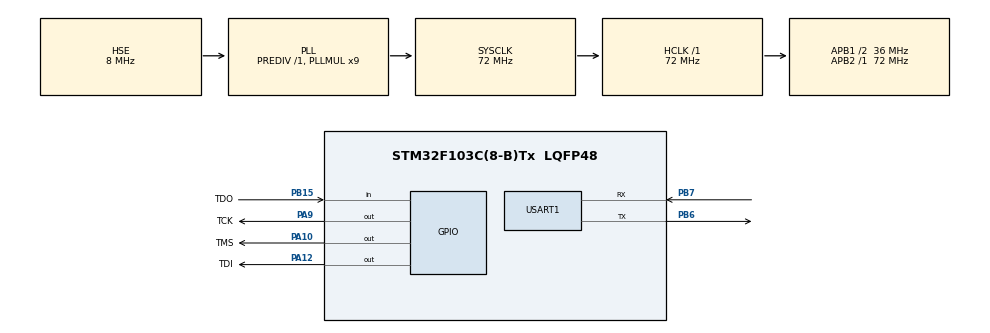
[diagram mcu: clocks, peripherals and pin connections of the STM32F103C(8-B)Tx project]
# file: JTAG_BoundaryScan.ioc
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Mcu.Family=STM32F1
Mcu.Name=STM32F103C(8-B)Tx
Mcu.Package=LQFP48
NVIC.PriorityGroup=NVIC_PRIORITYGROUP_4
NVIC.TIM1_UP_IRQn=true\:0\:0\:false\:false\:true\:false
NVIC.TimeBase=TIM1_UP_IRQn
NVIC.TimeBaseIP=TIM1
PA10.GPIO_Label=TMS
PA10.Signal=GPIO_Output
PA12.GPIO_Label=TDI
PA12.GPIO_PuPd=GPIO_NOPULL
PA12.Signal=GPIO_Output
PA13.Mode=Serial_Wire
PA13.Signal=SYS_JTMS-SWDIO
PA14.Mode=Serial_Wire
PA14.Signal=SYS_JTCK-SWCLK
PA9.GPIO_Label=TCK
PA9.GPIO_PuPd=GPIO_NOPULL
PA9.Signal=GPIO_Output
PB15.GPIO_Label=TDO
PB15.GPIO_PuPd=GPIO_NOPULL
PB15.Signal=GPIO_Input
PB6.Mode=Asynchronous
PB6.Signal=USART1_TX
PB7.Mode=Asynchronous
PB7.Signal=USART1_RX
PD0-OSC_IN.Mode=HSE-External-Oscillator
PD0-OSC_IN.Signal=RCC_OSC_IN
PD1-OSC_OUT.Mode=HSE-External-Oscillator
PD1-OSC_OUT.Signal=RCC_OSC_OUT
ProjectManager.HeapSize=0x200
ProjectManager.StackSize=0x400
ProjectManager.TargetToolchain=SW4STM32
RCC.AHBFreq_Value=72000000
RCC.APB1CLKDivider=RCC_HCLK_DIV2
RCC.APB1Freq_Value=36000000
RCC.APB1TimFreq_Value=72000000
RCC.APB2Freq_Value=72000000
RCC.APB2TimFreq_Value=72000000
RCC.HCLKFreq_Value=72000000
RCC.PLLMUL=RCC_PLL_MUL9
RCC.PLLSourceVirtual=RCC_PLLSOURCE_HSE
RCC.SYSCLKFreq_VALUE=72000000
RCC.SYSCLKSource=RCC_SYSCLKSOURCE_PLLCLK
RCC.USBFreq_Value=72000000
USART1.Parity=PARITY_NONE
USART1.VirtualMode=VM_ASYNC
VP_SYS_VS_tim1.Mode=TIM1
board=custom

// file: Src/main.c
/**
  ******************************************************************************
  * @file           : main.c
  * @brief          : Main program body
  ******************************************************************************
  ** This notice applies to any and all portions of this file
  * that are not between comment pairs USER CODE BEGIN and
  * USER CODE END. Other portions of this file, whether
  * inserted by the user or by software development tools
  * are owned by their respective copyright owners.
  *
  * COPYRIGHT(c) 2019 STMicroelectronics
  *
  * Redistribution and use in source and binary forms, with or without modification,
  * are permitted provided that the following conditions are met:
  *   1. Redistributions of source code must retain the above copyright notice,
  *      this list of conditions and the following disclaimer.
  *   2. Redistributions in binary form must reproduce the above copyright notice,
  *      this list of conditions and the following disclaimer in the documentation
  *      and/or other materials provided with the distribution.
  *   3. Neither the name of STMicroelectronics nor the names of its contributors
  *      may be used to endorse or promote products derived from this software
  *      without specific prior written permission.
  *
  * THIS SOFTWARE IS PROVIDED BY THE COPYRIGHT HOLDERS AND CONTRIBUTORS "AS IS"
  * AND ANY EXPRESS OR IMPLIED WARRANTIES, INCLUDING, BUT NOT LIMITED TO, THE
  * IMPLIED WARRANTIES OF MERCHANTABILITY AND FITNESS FOR A PARTICULAR PURPOSE ARE
  * DISCLAIMED. IN NO EVENT SHALL THE COPYRIGHT HOLDER OR CONTRIBUTORS BE LIABLE
  * FOR ANY DIRECT, INDIRECT, INCIDENTAL, SPECIAL, EXEMPLARY, OR CONSEQUENTIAL
  * DAMAGES (INCLUDING, BUT NOT LIMITED TO, PROCUREMENT OF SUBSTITUTE GOODS OR
  * SERVICES; LOSS OF USE, DATA, OR PROFITS; OR BUSINESS INTERRUPTION) HOWEVER
  * CAUSED AND ON ANY THEORY OF LIABILITY, WHETHER IN CONTRACT, STRICT LIABILITY,
  * OR TORT (INCLUDING NEGLIGENCE OR OTHERWISE) ARISING IN ANY WAY OUT OF THE USE
  * OF THIS SOFTWARE, EVEN IF ADVISED OF THE POSSIBILITY OF SUCH DAMAGE.
  *
  ******************************************************************************
  */
#include "main.h"
#include "stm32f1xx_hal.h"

/* USER CODE BEGIN Includes */
#include <stdint.h>
#include <stdlib.h>
#include <string.h>
#include "Tap.h"
#include "global.h"
#include "BoundaryScan.h"
#include "USART.h"
#include "BSReg_Def.h"
#include "myString.h"

/* USER CODE END Includes */

UART_HandleTypeDef huart1;

/* USER CODE BEGIN PV */
/* Private variables ---------------------------------------------------------*/

TapState currentTapState = TEST_LOGIC_RESET;
JTAGInstruction currentIR = DONT_CARE;

extern BSCell bsc1;

char menuBuffer[BUFFER_SIZE] = {0};
char commandBuffer[BUFFER_SIZE] = {0};

/* USER CODE END PV */

void SystemClock_Config(void);
static void MX_GPIO_Init(void);
static void MX_USART1_UART_Init(void);

/* USER CODE BEGIN PFP */
/* Private function prototypes -----------------------------------------------*/

/* USER CODE END PFP */

int main(void)
{
  /* USER CODE BEGIN 1 */
	volatile uint64_t val = 0, i = 0;
	sprintf( menuBuffer, "\t\tWelcome to JTAG Interface for STM32F103C8T6, \
			\n \t\t\t type 'help' for enquiry \n\n");

  /* USER CODE END 1 */

  /* MCU Configuration----------------------------------------------------------*/

  /* Reset of all peripherals, Initializes the Flash interface and the Systick. */
  HAL_Init();

  /* Configure the system clock */
  SystemClock_Config();

  /* Initialize all configured peripherals */
  MX_GPIO_Init();
  MX_USART1_UART_Init();
  /* USER CODE BEGIN 2 */

  switchSwdToJtagMode();
  jtagIoInit();

  /*	Bypass Instruction
  	   * 	Instruction op-code : 9 bit of 1
  	   * 	1. Load the DR of Boundary Scan(BS) and Cortex TAP
  	   * 	   with 1.
  	   * 	2. Send data of 0b1110001 to shift out.
  	   * 	3. Expected data is
  	   *
  	   * 							BS TAP  Cortex TAP
  	   * 	TDI : 	0b1110001		0b		0b
  	   * 			--------------> ------> ----> 	TDO
  	   * 	Expect result from TDO is 0b111000100	(LSB first)
  	   * */
  	  val = jtagBypass(BYPASS_BOTH_TAP, CORTEX_M3_JTAG_INSTRUCTION_LENGTH, 0b1110001, 10);
  	  val = 0;

  	  /*	IDCODE Instruction
  	   * 	Instruction op-code : 0b000011110
  	   *	1. Load the IR of Boundary Scan(BS) with 0b00001
  	   *	   and Cortex TAP with 0b1110
  	   *    2. Shift out the IDCODE from both TAP's DR.
  	   *    3. Expected result is
  	   *        			BS TAP		Cortex TAP
  	   *	TDI : 		0x16410041		0x3ba00477(LSB)
  	   *
  	   *	Expect result from TDO is 0x164100413ba00477
  	   * */
  	  val = jtagReadIdCode(READ_BOTH_IDCODE, CORTEX_M3_JTAG_INSTRUCTION_LENGTH, DUMMY_DATA, 64);
  	  val = 0;

  	  /*	Get IDCODE after reset TAP state to TEST_LOGIC_RESET
  	   * 	Expect result from TDO is 0x164100413ba00477
  	   * */
  	  val = jtagReadIDCodeResetTAP(DUMMY_DATA, 64);
  	  val = 0;

  	  /*	Get IDCODE for BS TAP and bypass Cortex TAP
  	   *	retval need to shift right by 1 bit bcoz of
  	   *	bypass bit for Cortex TAP
  	   *
  	   *	Expect result from TDO is 0xXXXXXXXX16410041
  	   * */
  	  val = jtagReadIdCode(READ_BSC_IDCODE_BYPASS_M3_TAP, CORTEX_M3_JTAG_INSTRUCTION_LENGTH, 0xffffffffffffffff, 64);
  	  val = val>>1;
  	  val = 0;

  	  /*	Bypass BS TAP and get IDCODE for Cortex TAP
  	   *
  	   * 	Expect result from TDO is 0xXXXXXXXX3ba00477
  	   * */
  	  val = jtagReadIdCode(BYPASS_BSC_TAP_READ_M3_IDCODE, CORTEX_M3_JTAG_INSTRUCTION_LENGTH, 0xffffffffffffffff, 64);
  	  val = 0;

  	  /*	SAMPLE Instruction
  	   * 	Sample the Gpio pin while the MCU is running in normal operation
  	   *
  	   * 	Example
  	   * 	When pin pa12 is connected to GND the expected val is 0,
  	   * 	if pin pa12 is connected to 3.3V the expected val is 1
  	   * */
  	  bSCInIt(&bsc1);
  	  bSCPinConfigure(&bsc1, pa12, INPUT_PIN);
  	  val = bSCSampleGpioPin(&bsc1, pa12);
  	  /*	PRELOAD Instruction
  	   * 	Loaded the test pattern that will use for EXTEST later
  	   *
  	   * 	Example
  	   *	Load '1' at the output cell of pb9 (tri-stated).
  	   *	When loading EXTEST instruction, pb9 will output HIGH '1'
  	   *
  	   * */
  	  writePreloadData(&bsc1, pa12, 1);
  	  val = jtagReadBSCPin(&bsc1, pa12.outputCellNum, PRELOAD_DATA);

  	  /*	EXTEST Instruction
  	   * 	Apply the test pattern preloaded from PRELOAD Instruction
  	   * 	to the circuit
  	   *
  	   * 	NOTICE : Make sure the currentIR is not EXTEST for first time
  	   * 			 then update the currentIR to EXTEST
  	   * */
  	 bSCPinConfigure(&bsc1, pa9, OUTPUT_PIN);
  	 bSCExtestGpioPin(&bsc1, pa9, 1);
  	 bSCExtestGpioPin(&bsc1, pa9, 0);
  	 bSCExtestGpioPin(&bsc1, pa9, 1);
  	 bSCExtestGpioPin(&bsc1, pa9, 1);
  	 bSCExtestGpioPin(&bsc1, pa9, 1);
  	 bSCExtestGpioPin(&bsc1, pa9, 0);
  	 bSCExtestGpioPin(&bsc1, pa9, 0);
  	 bSCExtestGpioPin(&bsc1, pa9, 0);
  	 uartTransmitBuffer(uart1, menuBuffer);

  	 char *str = "pa9";
  	 volatile int k = isBSRegValid(str);
	 bSCInIt(&bsc1);
  /* USER CODE END 2 */

  /* Infinite loop */
  /* USER CODE BEGIN WHILE */
  while (1)
  {

	  restart: // Label for goto statement
    // Check if there is new data received via UART
    if(usartIsRxRegNotEmpty(uart1)){
      // If data is received, read it into the commandBuffer
      commandBuffer[i] = (uart1)->DR;

      // Check if the UART is ready to transmit data
      if(usartIsTxRegEmpty(uart1)){
        // If ready, echo the received data back to the sender
        (uart1)->DR = commandBuffer[i];
      }

      // Check if the received data is a backspace character
      if(commandBuffer[i] == '\b'){
        // If it is, "erase" the last character received by decrementing the index
        i--;
        // Then, restart the loop from the beginning
        goto restart;
      }

      // Check if the received data is a newline character
      if(commandBuffer[i] == '\n'){
        // If it is, terminate the command string and process the command
        commandBuffer[i] = '\0';
        commandLineOperation(commandBuffer);

        // Reset the index to start a new command
        i = 0;

        // Then, restart the loop from the beginning
        goto restart;
      }

      // If the received data is neither backspace nor newline, increment the index for the next character
      i++;
    }
	  //uartTransmitAndReceive(uart1, commandBuffer);
  /* USER CODE END WHILE */

  }

}

void SystemClock_Config(void)
{

  RCC_OscInitTypeDef RCC_OscInitStruct;
  RCC_ClkInitTypeDef RCC_ClkInitStruct;

    /**Initializes the CPU, AHB and APB busses clocks
    */
  RCC_OscInitStruct.OscillatorType = RCC_OSCILLATORTYPE_HSE;
  RCC_OscInitStruct.HSEState = RCC_HSE_ON;
  RCC_OscInitStruct.HSEPredivValue = RCC_HSE_PREDIV_DIV1;
  RCC_OscInitStruct.HSIState = RCC_HSI_ON;
  RCC_OscInitStruct.PLL.PLLState = RCC_PLL_ON;
  RCC_OscInitStruct.PLL.PLLSource = RCC_PLLSOURCE_HSE;
  RCC_OscInitStruct.PLL.PLLMUL = RCC_PLL_MUL9;
  if (HAL_RCC_OscConfig(&RCC_OscInitStruct) != HAL_OK)
  {
    _Error_Handler(__FILE__, __LINE__);
  }

    /**Initializes the CPU, AHB and APB busses clocks
    */
  RCC_ClkInitStruct.ClockType = RCC_CLOCKTYPE_HCLK|RCC_CLOCKTYPE_SYSCLK
                              |RCC_CLOCKTYPE_PCLK1|RCC_CLOCKTYPE_PCLK2;
  RCC_ClkInitStruct.SYSCLKSource = RCC_SYSCLKSOURCE_PLLCLK;
  RCC_ClkInitStruct.AHBCLKDivider = RCC_SYSCLK_DIV1;
  RCC_ClkInitStruct.APB1CLKDivider = RCC_HCLK_DIV2;
  RCC_ClkInitStruct.APB2CLKDivider = RCC_HCLK_DIV1;

  if (HAL_RCC_ClockConfig(&RCC_ClkInitStruct, FLASH_LATENCY_2) != HAL_OK)
  {
    _Error_Handler(__FILE__, __LINE__);
  }

    /**Configure the Systick interrupt time
    */
  HAL_SYSTICK_Config(HAL_RCC_GetHCLKFreq()/1000);

    /**Configure the Systick
    */
  HAL_SYSTICK_CLKSourceConfig(SYSTICK_CLKSOURCE_HCLK);

  /* SysTick_IRQn interrupt configuration */
  HAL_NVIC_SetPriority(SysTick_IRQn, 0, 0);
}

/* USART1 init function */
static void MX_USART1_UART_Init(void)
{

  huart1.Instance = USART1;
  huart1.Init.BaudRate = 115200;
  huart1.Init.WordLength = UART_WORDLENGTH_8B;
  huart1.Init.StopBits = UART_STOPBITS_1;
  huart1.Init.Parity = UART_PARITY_NONE;
  huart1.Init.Mode = UART_MODE_TX_RX;
  huart1.Init.HwFlowCtl = UART_HWCONTROL_NONE;
  huart1.Init.OverSampling = UART_OVERSAMPLING_16;
  if (HAL_UART_Init(&huart1) != HAL_OK)
  {
    _Error_Handler(__FILE__, __LINE__);
  }

}

/** Configure pins as
        * Analog
        * Input
        * Output
        * EVENT_OUT
        * EXTI
*/
static void MX_GPIO_Init(void)
{

  GPIO_InitTypeDef GPIO_InitStruct;

  /* GPIO Ports Clock Enable */
  __HAL_RCC_GPIOD_CLK_ENABLE();
  __HAL_RCC_GPIOB_CLK_ENABLE();
  __HAL_RCC_GPIOA_CLK_ENABLE();

  /*Configure GPIO pin Output Level */
  HAL_GPIO_WritePin(GPIOA, TCK_Pin|TMS_Pin|TDI_Pin, GPIO_PIN_RESET);

  /*Configure GPIO pin : TDO_Pin */
  GPIO_InitStruct.Pin = TDO_Pin;
  GPIO_InitStruct.Mode = GPIO_MODE_INPUT;
  GPIO_InitStruct.Pull = GPIO_NOPULL;
  HAL_GPIO_Init(TDO_GPIO_Port, &GPIO_InitStruct);

  /*Configure GPIO pins : TCK_Pin TMS_Pin TDI_Pin */
  GPIO_InitStruct.Pin = TCK_Pin|TMS_Pin|TDI_Pin;
  GPIO_InitStruct.Mode = GPIO_MODE_OUTPUT_PP;
  GPIO_InitStruct.Pull = GPIO_NOPULL;
  GPIO_InitStruct.Speed = GPIO_SPEED_FREQ_LOW;
  HAL_GPIO_Init(GPIOA, &GPIO_InitStruct);

}

void HAL_TIM_PeriodElapsedCallback(TIM_HandleTypeDef *htim)
{
  if (htim->Instance == TIM1) {
    HAL_IncTick();
  }
}

void _Error_Handler(char *file, int line)
{
  while(1)
  {
  }
}

/************************ (C) COPYRIGHT STMicroelectronics *****END OF FILE****/
